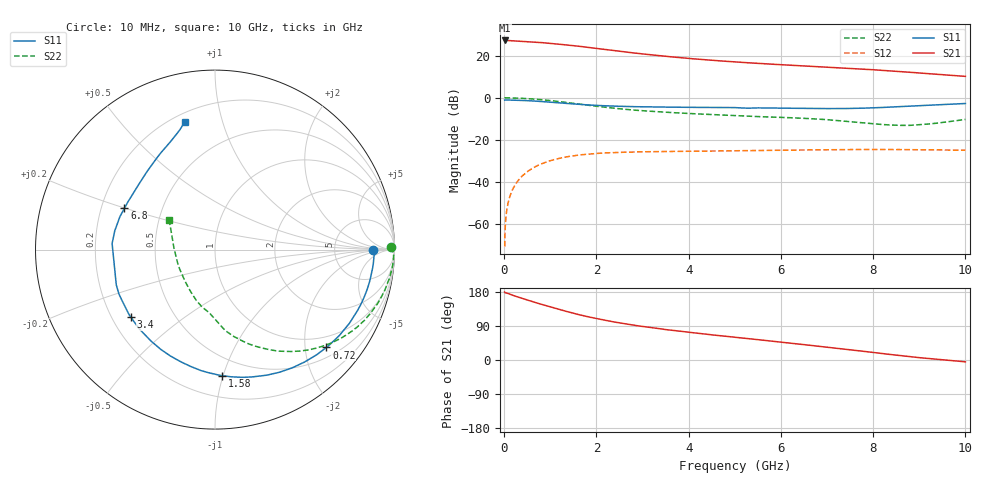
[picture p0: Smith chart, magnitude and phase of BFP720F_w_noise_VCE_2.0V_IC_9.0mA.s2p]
! Infineon Technologies  Discrete & RF Semiconductors
! BFP720F
! VCE =  2.0 V,  IC =  9.0 mA
! Common Emitter S-Parameters:  Jan 2016
# GHz  S  MA  R  50
!  f  S11  S21  S12  S22
! GHz  MAG  ANG  MAG  ANG  MAG  ANG  MAG  ANG
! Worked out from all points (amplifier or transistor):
!   233 points, 10 MHz to 10 GHz, reference 50 ohm
!   highest |S21| = 27.2 dB at 10 MHz (marker M1)
!   |S21| within 3 dB of that: start of sweep to 1.712 GHz
!   unconditionally stable (mu >= 1): start of sweep to 13.36 MHz; 6.96 GHz to end of sweep
!   at 200 MHz: K = 0.05, MSG = 34.9 dB, |S12| = -42.9 dB
!   at 1.74 GHz: K = 0.29, MSG = 25.5 dB, |S12| = -26.9 dB
!   at 10 GHz: K = 1.28, MAG = 14.3 dB, |S12| = -24.9 dB
!   lowest NFmin = 0.52 dB at 450 MHz
!   S11 on the Smith chart (normalised r, x): 10 MHz: 16, +0; 720 MHz: 0.72, -2.47; 1.58 GHz: 0.36, -0.99; 3.4 GHz: 0.28, -0.33; 6.8 GHz: 0.30, +0.20; 10 GHz: 0.25, +0.76
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0.01  0.8794 0.0  22.89 179.5  0.0003 -27.4  0.9781 0.7
0.015  0.8837 -0.6  22.78 178.5  0.0003 65.8  0.9875 -0.3
0.02  0.8881 -1.1  22.67 177.5  0.0007 91.1  0.9971 -1.2
0.05  0.8866 -3.0  22.87 177.1  0.0019 87.5  0.9956 -1.8
0.1  0.8853 -5.8  22.78 174.8  0.0037 86.5  0.9956 -3.6
0.26  0.8755 -15.2  22.21 167.7  0.0093 81.5  0.9843 -9.6
0.42  0.8611 -24.3  21.64 161.4  0.0148 76.0  0.9652 -15.6
0.72  0.8257 -41.3  20.6 150.1  0.0244 66.2  0.9166 -26.1
0.9  0.8006 -51.5  19.97 143.5  0.0295 60.8  0.8794 -32.1
1.12  0.7687 -63.2  18.95 135.8  0.0348 54.3  0.8283 -39.1
1.3  0.7421 -72.7  18.14 129.8  0.0386 49.5  0.7849 -44.5
1.58  0.7035 -86.7  16.86 120.9  0.0431 42.8  0.7184 -52.2
1.68  0.6908 -91.4  16.37 118.0  0.0444 40.6  0.6948 -54.8
2.02  0.6567 -105.4  14.74 108.8  0.0478 34.1  0.625 -62.5
2.4  0.6327 -118.5  13.08 100.0  0.0502 28.0  0.5618 -69.9
2.8  0.6147 -129.4  11.6 91.9  0.0515 23.3  0.5103 -75.7
3.4  0.6012 -141.1  9.879 82.1  0.0528 18.2  0.4605 -81.9
4  0.5922 -149.7  8.571 73.1  0.0537 14.5  0.4224 -86.0
5.1  0.5747 -164.8  6.971 58.8  0.0553 9.8  0.3732 -91.9
6.8  0.5546 155.4  5.457 36.5  0.058 3.6  0.3108 -107.3
8.4  0.6027 122.9  4.324 14.2  0.0591 -2.9  0.225 -150.7
10  0.7296 103.4  3.213 -4.8  0.0569 -6.6  0.3063 146.9
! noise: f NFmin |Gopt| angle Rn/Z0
0.45  0.52  0.33  4  0.18
0.9  0.55  0.31  9  0.15
1.8  0.6  0.29  15  0.14
2.4  0.63  0.26  25  0.14
5.5  0.77  0.25  48  0.08
10  0.99  0.27  -94  0.17
